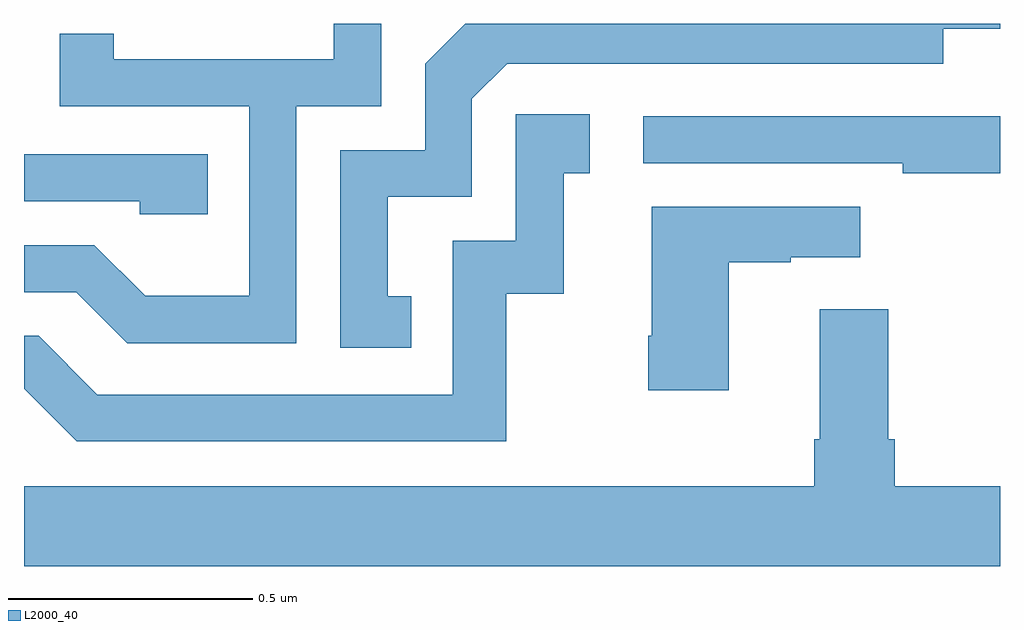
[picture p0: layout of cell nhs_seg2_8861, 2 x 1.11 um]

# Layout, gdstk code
import gdstk
lib = gdstk.Library(unit=1e-6, precision=1e-09)
def P(c, l, *ps):  # polygons
    for p in ps: c.add(gdstk.Polygon(p, *l))
L2000_40 = (2000, 40)

nhs_seg2_8861 = lib.new_cell('nhs_seg2_8861')
P(nhs_seg2_8861, L2000_40, [(222.794,596.241),(222.745,596.241),(222.745,596.445),(222.918,596.445),(222.918,596.646),(222.99,596.718),(223.884,596.718),(223.884,596.79),(224,596.79),(224,596.8),(222.904,596.8),(222.822,596.718),(222.822,596.541),(222.648,596.541),(222.648,596.136),(222.794,596.136)],
  [(222.558,596.631),(222.732,596.631),(222.732,596.8),(222.635,596.8),(222.635,596.727),(222.184,596.727),(222.184,596.779),(222.073,596.779),(222.073,596.631),(222.462,596.631),(222.462,596.242),(222.248,596.242),(222.144,596.346),(222,596.346),(222,596.25),(222.107,596.25),(222.212,596.145),(222.558,596.145)],
  [(222.988,596.247),(223.106,596.247),(223.106,596.493),(223.159,596.493),(223.159,596.614),(223.008,596.614),(223.008,596.355),(222.879,596.355),(222.879,596.04),(222.15,596.04),(222.03,596.16),(222,596.16),(222,596.052),(222.108,595.944),(222.988,595.944)],
  [(224,596.61),(223.269,596.61),(223.269,596.514),(223.801,596.514),(223.801,596.494),(224,596.494)],
  [(222.377,596.532),(222,596.532),(222,596.436),(222.237,596.436),(222.237,596.409),(222.377,596.409)],
  [(223.444,596.311),(223.571,596.311),(223.571,596.321),(223.714,596.321),(223.714,596.425),(223.286,596.425),(223.286,596.161),(223.279,596.161),(223.279,596.049),(223.444,596.049)],
  [(224,595.852),(223.784,595.852),(223.784,595.948),(223.771,595.948),(223.771,596.215),(223.631,596.215),(223.631,595.948),(223.619,595.948),(223.619,595.852),(222,595.852),(222,595.688),(224,595.688)])

lib.write_gds('nhs_seg2_8861.gds')
